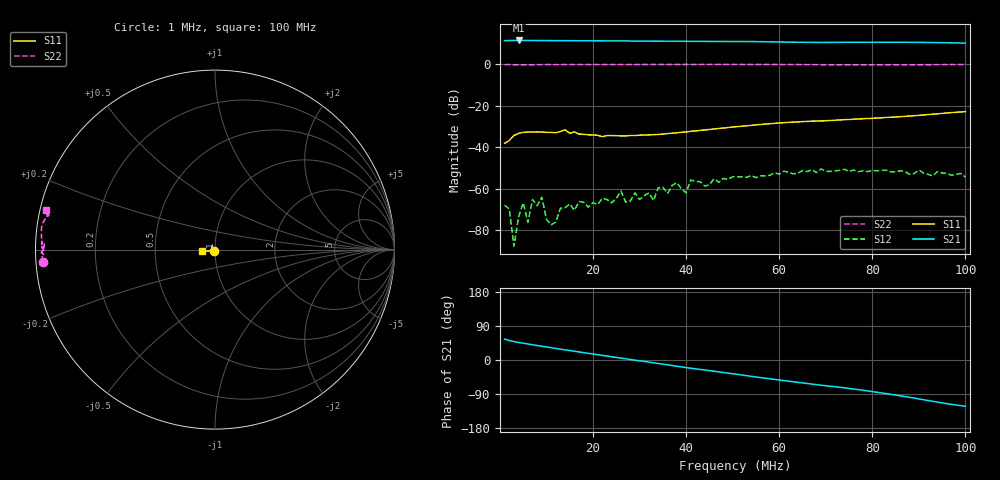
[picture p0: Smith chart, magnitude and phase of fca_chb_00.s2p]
# HZ S RI R 50
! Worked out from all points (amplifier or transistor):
!   100 points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, 1 MHz to 100 MHz, reference 50 ohm
!   highest |S21| = 11.3 dB at 4 MHz (marker M1)
!   |S21| within 3 dB of that: start of sweep to end of sweep
!   unconditionally stable (mu >= 1): start of sweep to end of sweep
!   at 17 MHz: K = 18.26, MAG = 23.0 dB, |S12| = -66.1 dB
!   at 51 MHz: K = 3.94, MAG = 23.6 dB, |S12| = -54.2 dB
!   at 100 MHz: K = 4.94, MAG = 22.3 dB, |S12| = -54.4 dB
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1000001  -0.00652 -0.0105  2.075 2.977  -0.000401 -6.17e-06  -0.9583 -0.0664
2000001  -0.0128 0.00656  2.29 2.86  -0.000325 4.66e-05  -0.9673 -0.0129
3000001  -0.0147 0.0122  2.423 2.759  -9.86e-06 4.05e-05  -0.9552 -0.0278
4000001  -0.0156 0.0146  2.532 2.661  -0.000187 9.44e-05  -0.9614 -0.00899
5000001  -0.0162 0.0159  2.629 2.565  -0.000216 0.000404  -0.9511 0.0322
6000001  -0.0163 0.0163  2.716 2.466  -0.000156 1.26e-05  -0.9565 -0.00859
7000001  -0.0163 0.0165  2.798 2.367  -0.000527 0.000144  -0.9575 0.00608
9000001  -0.0162 0.0164  2.947 2.164  -0.000277 0.000564  -0.962 0.0117
1.1e7  -0.0164 0.0157  3.077 1.957  -0.000118 6.8e-05  -0.963 0.0196
1.3e7  -0.0144 0.019  3.198 1.741  0.000122 0.000319  -0.9618 0.0231
1.8e7  -0.0163 0.0121  3.405 1.201  -0.000365 0.000302  -0.9636 0.0353
2.4e7  -0.0172 0.00791  3.542 0.5369  -0.000434 0.000143  -0.9641 0.0502
2.6e7  -0.0175 0.00665  3.559 0.3154  -0.000782 0.000412  -0.9625 0.0558
2.7e7  -0.0177 0.00588  3.564 0.2006  -0.000419 0.00023  -0.966 0.0588
3.3e7  -0.0198 0.00193  3.506 -0.4566  -0.000385 0.000358  -0.9669 0.0746
3.4e7  -0.0202 0.00134  3.487 -0.5632  -0.000711 0.000777  -0.9671 0.0775
4e7  -0.023 -0.00247  3.295 -1.194  -0.000627 0.000489  -0.9681 0.0945
4.1e7  -0.0238 -0.00301  3.256 -1.292  -0.000941 0.00133  -0.9676 0.0974
5.1e7  -0.0303 -0.00751  2.732 -2.126  -0.000299 0.00192  -0.9645 0.1282
6.7e7  -0.0413 -0.00798  1.472 -2.957  0.000563 0.00282  -0.9464 0.1695
8.4e7  -0.0515 -0.00954  -0.0355 -3.318  0.0018 0.00183  -0.9386 0.1972
1e8  -0.0712 -0.00829  -1.687 -2.69  0.00175 0.000785  -0.9438 0.2211
